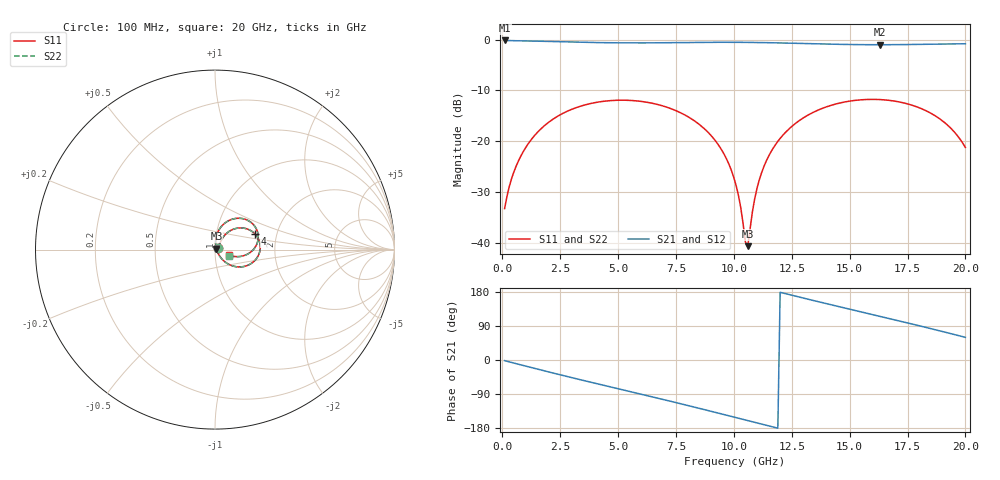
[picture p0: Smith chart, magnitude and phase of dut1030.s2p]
! Touchstone file exported from HFSS 2026.1.0
!  File:  C:/ffzhzh/LocalFiles/Ansys_Project_Files/temp_train_TSV_RDL_1030_1783293852_39728.aedt
!  Generated:  07:34:42 AM Jul  6, 2026
!  Design:  TSV_RDL
!  Project:  temp_train_TSV_RDL_1030_1783293852_39728
! Variables:
!  h_bsmrdl = 4.8um
!  h_ox = 20um
!  h_rdl = 5um
!  h_sub = 95.7um
!  h_tmrdl = 4.39um
!  h_tsv = 95.7um
!  h_via = 3um
!  l_bsmrdl = 739.65um
!  l_sub = 4853.91um
!  l_tmrdl = 526.76um
!  m_sub = 200um
!  pitch = 33.62um
!  r_tsv = 7.57um
!  s_tmrdl = 10um
!  w_bsmrdl = 26.42um
!  w_sub = 500um
!  w_tmrdl = 16.22um
!  x_tsv_center1 = 534.87um
!  x_tsv_center2 = 1300.94um
!  x_tsv_center3 = 1843.92um
!  x_tsv_center4 = 2609.99um
!  x_tsv_center5 = 3152.97um
!  x_tsv_center6 = 3919.04um
# GHz S MA R 50.000000
! Terminal data exported
! Port[1] = TM_RDL1_1_T1
! Port[2] = TM_RDL5_1_T1
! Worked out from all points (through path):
!   200 points, 100 MHz to 20 GHz, reference 50 ohm
!   highest |S21| = -0.17 dB at 100 MHz (marker M1); lowest = -1.0 dB at 16.3 GHz (marker M2)
!   group delay of S21, straight-line fit = 41.5 ps
!   lowest |S11| = -40.7 dB at 10.6 GHz (marker M3), VSWR 1.02, Z = 50.8 + j0.497 ohm
!   |S11| at or under -10 dB: start of sweep to end of sweep
!   |S22| runs from -40.8 to -11.8 dB; largest |S21 - S12| = 1.7e-14
!   S11 on the Smith chart (normalised r, x): 100 MHz: 1.04, +0.02; 4 GHz: 1.54, +0.29; 20 GHz: 1.17, -0.08
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0.1  0.02161 26.9  0.981 -1.7  0.981 -1.7  0.02161 26.9
! Gamma 0 0 0 0
! Port Impedance 50 0 50 0
0.5  0.04964 53.5  0.9755 -8.1  0.9755 -8.1  0.04964 53.5
1.2  0.09986 55.7  0.969 -19.1  0.969 -19.1  0.09987 55.7
2.2  0.165 45.5  0.9568 -34.5  0.9568 -34.5  0.165 45.5
3.5  0.2249 28.3  0.9405 -53.9  0.9405 -53.9  0.2249 28.3
4  0.2392 21.5  0.9356 -61.3  0.9356 -61.3  0.2392 21.4
5.4  0.2525 2.3  0.9283 -81.6  0.9283 -81.6  0.2525 2.3
6.8  0.2265 -16.9  0.9303 -102.0  0.9303 -102.0  0.2265 -17.0
8.9  0.1211 -45.3  0.94 -133.5  0.94 -133.5  0.1211 -45.4
9.6  0.07278 -52.9  0.9413 -144.3  0.9413 -144.3  0.07277 -53.0
10.1  0.03634 -53.3  0.9408 -152.1  0.9408 -152.1  0.03632 -53.4
10.3  0.02199 -46.7  0.9402 -155.2  0.9402 -155.2  0.02195 -46.9
10.5  0.01011 -12.6  0.9395 -158.3  0.9395 -158.3  0.01004 -12.8
10.6  0.009213 32.1  0.939 -159.8  0.939 -159.8  0.009137 32.2
10.9  0.02697 81.6  0.9373 -164.5  0.9373 -164.5  0.02694 81.8
11.4  0.06357 85.3  0.9334 -172.2  0.9334 -172.2  0.06356 85.4
12.2  0.1198 77.3  0.9251 175.5  0.9251 175.5  0.1198 77.3
13.4  0.1905 61.6  0.9105 157.5  0.9105 157.5  0.1905 61.5
16.3  0.2566 22.6  0.8904 115.4  0.8904 115.4  0.2566 22.5
16.7  0.2521 17.2  0.8909 109.6  0.8909 109.6  0.2521 17.1
18.7  0.1773 -9.1  0.9026 79.9  0.9026 79.9  0.1772 -9.4
20  0.08651 -22.1  0.9103 59.8  0.9103 59.8  0.08633 -22.6
